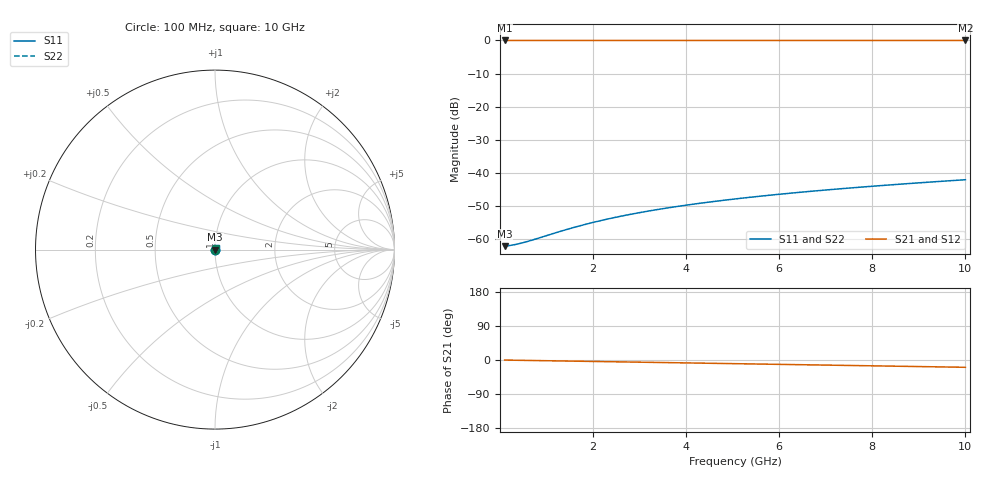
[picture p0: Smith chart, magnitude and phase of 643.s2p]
# Hz S RI R 50.00
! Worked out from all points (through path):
!   100 points, 100 MHz to 10 GHz, reference 50 ohm
!   highest |S21| = -0.01 dB at 100 MHz (marker M1); lowest = 0.0 dB at 10 GHz (marker M2)
!   group delay of S21, straight-line fit = 5.35 ps
!   lowest |S11| = -62.1 dB at 100 MHz (marker M3), VSWR 1.00, Z = 50.1 + j0.00783 ohm
!   |S11| at or under -10 dB: start of sweep to end of sweep
!   |S22| runs from -62.1 to -42.1 dB; largest |S21 - S12| = 0
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1e8  0.000778 7.82e-05  0.9992 -0.00333  0.9992 -0.00333  0.000778 7.82e-05
2e8  0.000782 0.000156  0.9992 -0.00666  0.9992 -0.00666  0.000782 0.000156
3e8  0.000786 0.000234  0.9992 -0.01  0.9992 -0.01  0.000786 0.000234
4e8  0.000789 0.000312  0.9991 -0.0133  0.9991 -0.0133  0.000789 0.000312
5e8  0.000793 0.00039  0.9991 -0.0167  0.9991 -0.0167  0.000793 0.00039
7e8  0.000801 0.000546  0.9989 -0.0233  0.9989 -0.0233  0.000801 0.000546
1.4e9  0.000841 0.00109  0.9981 -0.0467  0.9981 -0.0467  0.000841 0.00109
1.8e9  0.000874 0.00139  0.9974 -0.06  0.9974 -0.06  0.000874 0.00139
2.2e9  0.000914 0.0017  0.9964 -0.0733  0.9964 -0.0733  0.000914 0.0017
2.6e9  0.000962 0.002  0.9954 -0.0866  0.9954 -0.0866  0.000962 0.002
3e9  0.00102 0.00229  0.9941 -0.0999  0.9941 -0.0999  0.00102 0.00229
3.4e9  0.00108 0.00259  0.9927 -0.1132  0.9927 -0.1132  0.00108 0.00259
3.8e9  0.00115 0.00288  0.9911 -0.1265  0.9911 -0.1265  0.00115 0.00288
4.2e9  0.00123 0.00317  0.9893 -0.1398  0.9893 -0.1398  0.00123 0.00317
4.6e9  0.00132 0.00346  0.9873 -0.1531  0.9873 -0.1531  0.00132 0.00346
5.1e9  0.00144 0.00381  0.9846 -0.1696  0.9846 -0.1696  0.00144 0.00381
5.9e9  0.00166 0.00437  0.9796 -0.1961  0.9796 -0.1961  0.00166 0.00437
6.7e9  0.0019 0.00493  0.9739 -0.2224  0.9739 -0.2224  0.0019 0.00493
7.5e9  0.00218 0.00547  0.9676 -0.2486  0.9676 -0.2486  0.00218 0.00547
8.4e9  0.00254 0.00608  0.9595 -0.278  0.9595 -0.278  0.00254 0.00608
9.2e9  0.00289 0.00662  0.9516 -0.3039  0.9516 -0.3039  0.00289 0.00662
1e10  0.00328 0.00716  0.943 -0.3296  0.943 -0.3296  0.00328 0.00716
